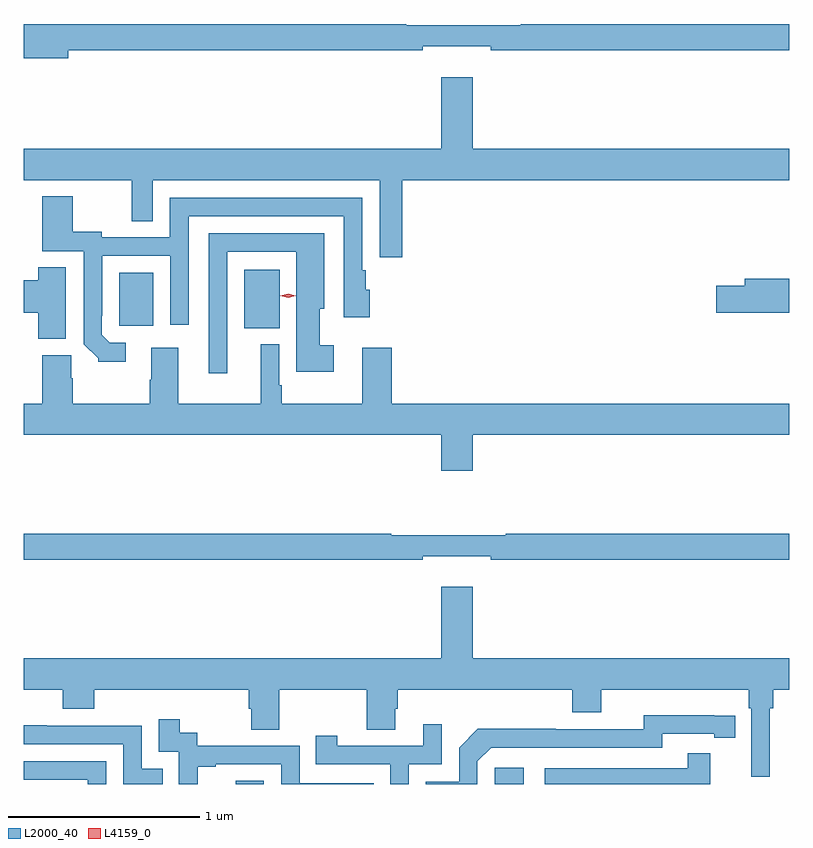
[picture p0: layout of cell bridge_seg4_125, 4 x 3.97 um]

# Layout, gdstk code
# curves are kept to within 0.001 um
import gdstk
lib = gdstk.Library(unit=1e-6, precision=1e-09)
def R(c, l, rs):  # rectangles x0, y0, x1, y1
    for r in rs: c.add(gdstk.rectangle(r[:2], r[2:], *l))
def P(c, l, *ps):  # polygons
    for p in ps: c.add(gdstk.Polygon(p, *l))
L2000_40 = (2000, 40)
L4159_0 = (4159, 0)

bridge_seg4_125 = lib.new_cell('bridge_seg4_125')
R(bridge_seg4_125, L2000_40, [(307.791,801.656,307.938,801.673), (309.144,801.656,309.295,801.742), (307.835,804.038,308.02,804.343), (307.181,804.051,307.36,804.328)])
P(bridge_seg4_125, L2000_40, [(306.916,805.492),(308.768,805.492),(308.768,805.511),(309.124,805.511),(309.124,805.492),(310.683,805.492),(310.683,805.628),(309.281,805.628),(309.281,805.621),(308.681,805.621),(308.681,805.628),(306.683,805.628),(306.683,805.45),(306.916,805.45)],
  [(308.66,804.812),(310.683,804.812),(310.683,804.976),(309.028,804.976),(309.028,805.351),(308.864,805.351),(308.864,804.976),(306.683,804.976),(306.683,804.812),(307.248,804.812),(307.248,804.598),(307.356,804.598),(307.356,804.812),(308.544,804.812),(308.544,804.408),(308.66,804.408)],
  [(307.216,803.961),(307.131,803.961),(307.089,804.003),(307.089,804.103),(307.092,804.103),(307.092,804.417),(307.449,804.417),(307.449,804.057),(307.545,804.057),(307.545,804.624),(308.355,804.624),(308.355,804.096),(308.492,804.096),(308.492,804.24),(308.471,804.24),(308.471,804.34),(308.451,804.34),(308.451,804.72),(307.445,804.72),(307.445,804.513),(307.089,804.513),(307.089,804.542),(306.939,804.542),(306.939,804.727),(306.779,804.727),(306.779,804.441),(306.996,804.441),(306.996,803.955),(307.071,803.88),(307.071,803.863),(307.216,803.863)],
  [(307.746,804.438),(308.108,804.438),(308.108,803.81),(308.302,803.81),(308.302,803.95),(308.23,803.95),(308.23,804.141),(308.254,804.141),(308.254,804.534),(307.65,804.534),(307.65,803.802),(307.746,803.802)],
  [(306.901,804.356),(306.758,804.356),(306.758,804.29),(306.683,804.29),(306.683,804.118),(306.758,804.118),(306.758,803.983),(306.901,803.983)],
  [(310.683,804.296),(310.451,804.296),(310.451,804.26),(310.302,804.26),(310.302,804.118),(310.683,804.118)],
  [(308.864,803.292),(309.028,803.292),(309.028,803.48),(310.683,803.48),(310.683,803.644),(308.606,803.644),(308.606,803.935),(308.453,803.935),(308.453,803.644),(308.032,803.644),(308.032,803.74),(308.019,803.74),(308.019,803.953),(307.922,803.953),(307.922,803.644),(307.489,803.644),(307.489,803.935),(307.349,803.935),(307.349,803.768),(307.342,803.768),(307.342,803.644),(306.939,803.644),(306.939,803.777),(306.93,803.777),(306.93,803.898),(306.779,803.898),(306.779,803.644),(306.683,803.644),(306.683,803.48),(308.864,803.48)],
  [(308.768,802.847),(309.124,802.847),(309.124,802.828),(310.683,802.828),(310.683,802.964),(309.202,802.964),(309.202,802.957),(308.602,802.957),(308.602,802.964),(306.683,802.964),(306.683,802.828),(308.768,802.828)],
  [(310.582,802.052),(310.601,802.052),(310.601,802.148),(310.683,802.148),(310.683,802.312),(309.028,802.312),(309.028,802.687),(308.864,802.687),(308.864,802.312),(306.683,802.312),(306.683,802.148),(306.887,802.148),(306.887,802.049),(307.052,802.049),(307.052,802.148),(307.859,802.148),(307.859,802.05),(307.871,802.05),(307.871,801.94),(308.019,801.94),(308.019,802.148),(308.476,802.148),(308.476,801.94),(308.623,801.94),(308.623,802.05),(308.636,802.05),(308.636,802.148),(309.548,802.148),(309.548,802.031),(309.7,802.031),(309.7,802.148),(310.472,802.148),(310.472,802.052),(310.485,802.052),(310.485,801.693),(310.582,801.693)],
  [(309.054,801.774),(309.126,801.846),(310.02,801.846),(310.02,801.918),(310.292,801.918),(310.292,801.898),(310.4,801.898),(310.4,802.014),(309.924,802.015),(309.924,801.942),(309.464,801.942),(309.464,801.944),(309.056,801.944),(308.958,801.846),(308.958,801.669),(308.784,801.669),(308.784,801.656),(309.054,801.656)],
  [(307.592,801.747),(307.687,801.747),(307.687,801.759),(308.028,801.759),(308.028,801.656),(308.513,801.656),(308.513,801.66),(308.124,801.66),(308.124,801.855),(307.59,801.855),(307.59,801.924),(307.498,801.924),(307.498,801.994),(307.389,801.994),(307.389,801.825),(307.494,801.825),(307.494,801.656),(307.592,801.656)],
  [(308.694,801.759),(308.868,801.759),(308.868,801.967),(308.771,801.967),(308.771,801.855),(308.32,801.855),(308.32,801.907),(308.209,801.907),(308.209,801.759),(308.598,801.759),(308.598,801.656),(308.694,801.656)],
  [(307.409,801.735),(307.299,801.735),(307.299,801.96),(306.803,801.96),(306.803,801.962),(306.683,801.962),(306.683,801.864),(307.203,801.864),(307.203,801.656),(307.409,801.656)],
  [(310.271,801.817),(310.153,801.817),(310.153,801.738),(309.405,801.738),(309.405,801.656),(310.271,801.656)],
  [(307.113,801.774),(306.683,801.774),(306.683,801.678),(307.017,801.678),(307.017,801.656),(307.113,801.656)])
P(bridge_seg4_125, L4159_0, [(308.064,804.198),(308.023,804.207),(308.023,804.208),(308.023,804.208),(308.064,804.218),(308.105,804.208),(308.105,804.208),(308.105,804.207)])

lib.write_gds('bridge_seg4_125.gds')
